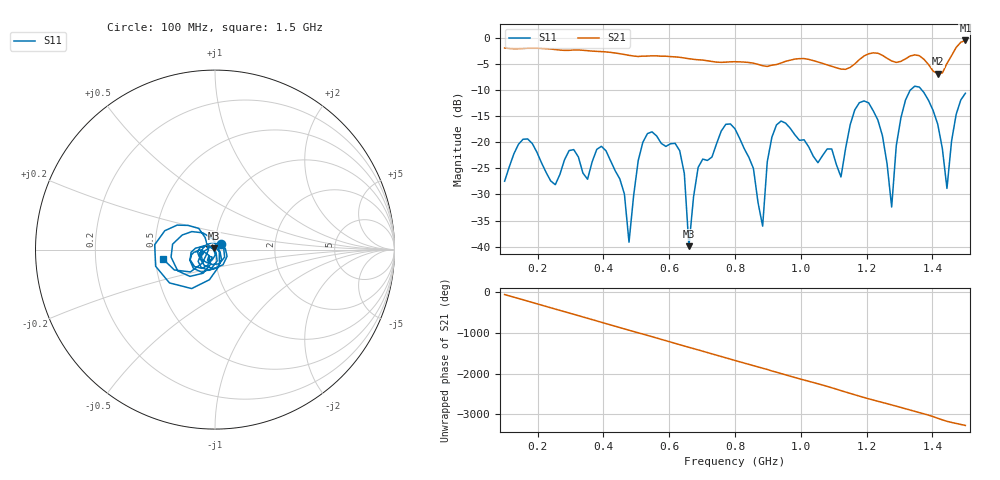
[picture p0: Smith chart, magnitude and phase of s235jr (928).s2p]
! NanoVNA-App
! Date: 2025-09-25 15:11:23
! Start: 100MHz Stop: 1,5GHz Points: 101
! S-Parameter data: F S11 S21 S12 S22
# Hz S RI R 50
!  Frequency  S11_Real  S11_Imag  S21_Real  S21_Imag  S12_Real  S12_Imag  S22_Real  S22_Imag
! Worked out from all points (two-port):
!   101 points, 100 MHz to 1.5 GHz, reference 50 ohm
!   highest |S21| = -0.52 dB at 1.5 GHz (marker M1); lowest = -6.9 dB at 1.416 GHz (marker M2)
!   |S21| within 3 dB of the highest: start of sweep to 494.4 MHz; 1.192 GHz to 1.252 GHz (60.2 MHz wide, 4.93 % of centre) (the widest 2 of 5)
!   lowest |S11| = -39.9 dB at 660 MHz (marker M3), VSWR 1.02, Z = 49.2 + j0.612 ohm
!   |S11| at or under -10 dB: start of sweep to 1.333 GHz; 1.367 GHz to end of sweep
!   S12 and S22 are empty: the file has one direction only
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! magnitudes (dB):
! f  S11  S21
! 100 MHz  -27.5  -2.0
! 156 MHz  -19.4  -2.1
! 338 MHz  -25.9  -2.4
! 408 MHz  -21.6  -2.7
! 478 MHz  -39.1  -3.4
! 520 MHz  -20.0  -3.5
! 576 MHz  -20.2  -3.5
! 632 MHz  -21.6  -3.7
! 660 MHz  -39.9  -4.0
! 688 MHz  -24.8  -4.2
! 800 MHz  -17.4  -4.6
! 884 MHz  -36.1  -5.4
! 926 MHz  -16.7  -5.1
! 1.038 GHz  -22.7  -4.4
! 1.122 GHz  -26.7  -6.0
! 1.206 GHz  -12.5  -3.1
! 1.276 GHz  -32.4  -4.4
! 1.29 GHz  -20.7  -4.7
! 1.332 GHz  -10.1  -3.5
! 1.416 GHz  -16.6  -6.9
! 1.444 GHz  -28.8  -4.9
! 1.5 GHz  -10.6  -0.5
